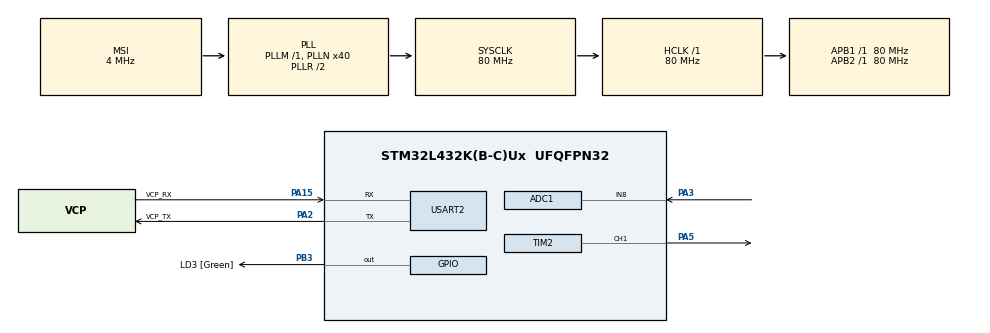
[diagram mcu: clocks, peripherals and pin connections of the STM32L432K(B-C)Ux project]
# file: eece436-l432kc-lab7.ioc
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ADC1.Channel-0\#ChannelRegularConversion=ADC_CHANNEL_8
ADC1.NbrOfConversionFlag=1
ADC1.OffsetNumber-0\#ChannelRegularConversion=ADC_OFFSET_NONE
ADC1.Rank-0\#ChannelRegularConversion=1
ADC1.SamplingTime-0\#ChannelRegularConversion=ADC_SAMPLETIME_2CYCLES_5
ADC1.master=1
Mcu.Family=STM32L4
Mcu.Name=STM32L432K(B-C)Ux
Mcu.Package=UFQFPN32
NVIC.PriorityGroup=NVIC_PRIORITYGROUP_4
PA0.GPIO_Label=MCO [High speed clock in]
PA0.Mode=HSE-External-Clock-Source-for-LittleOrca
PA0.Signal=RCC_CK_IN
PA13\ (JTMS-SWDIO).GPIO_Label=SWDIO
PA13\ (JTMS-SWDIO).Mode=Serial_Wire
PA13\ (JTMS-SWDIO).Signal=SYS_JTMS-SWDIO
PA14\ (JTCK-SWCLK).GPIO_Label=SWCLK
PA14\ (JTCK-SWCLK).Mode=Serial_Wire
PA14\ (JTCK-SWCLK).Signal=SYS_JTCK-SWCLK
PA15\ (JTDI).GPIO_Label=VCP_RX
PA15\ (JTDI).Mode=Asynchronous
PA15\ (JTDI).Signal=USART2_RX
PA2.GPIO_Label=VCP_TX
PA2.Mode=Asynchronous
PA2.Signal=USART2_TX
PA3.Signal=ADCx_IN8
PA5.GPIO_ModeDefaultPP=GPIO_MODE_AF_OD
PA5.Signal=S_TIM2_CH1
PB3\ (JTDO-TRACESWO).GPIO_Label=LD3 [Green]
PB3\ (JTDO-TRACESWO).Signal=GPIO_Output
PC14-OSC32_IN\ (PC14).Mode=LSE-External-Oscillator
PC14-OSC32_IN\ (PC14).Signal=RCC_OSC32_IN
PC15-OSC32_OUT\ (PC15).Mode=LSE-External-Oscillator
PC15-OSC32_OUT\ (PC15).Signal=RCC_OSC32_OUT
ProjectManager.HeapSize=0x200
ProjectManager.StackSize=0x400
ProjectManager.TargetToolchain=STM32CubeIDE
RCC.ADCCLockSelection=RCC_ADCCLKSOURCE_SYSCLK
RCC.ADCFreq_Value=80000000
RCC.AHBFreq_Value=80000000
RCC.APB1Freq_Value=80000000
RCC.APB1TimFreq_Value=80000000
RCC.APB2Freq_Value=80000000
RCC.APB2TimFreq_Value=80000000
RCC.CortexFreq_Value=80000000
RCC.HCLKFreq_Value=80000000
RCC.HSE_VALUE=8000000
RCC.HSI16_VALUE=16000000
RCC.HSI48_VALUE=48000000
RCC.HSI_VALUE=16000000
RCC.MSI_VALUE=4000000
RCC.PLLMUL=RCC_PLLMUL_4
RCC.PLLN=40
RCC.PLLSAI1N=16
RCC.SYSCLKFreq_VALUE=80000000
RCC.SYSCLKSource=RCC_SYSCLKSOURCE_PLLCLK
RCC.USBFreq_Value=32000000
RCC.VCOOutputFreq_Value=160000000
SH.ADCx_IN8.0=ADC1_IN8,IN8-Single-Ended
SH.S_TIM2_CH1.0=TIM2_CH1,PWM Generation1 CH1
TIM2.Channel-PWM\ Generation1\ CH1=TIM_CHANNEL_1
TIM2.Period=20000 - 1
TIM2.Prescaler=32000 - 1
TIM2.Pulse-PWM\ Generation1\ CH1=3999
USART2.VirtualMode-Asynchronous=VM_ASYNC
VP_TIM2_VS_ClockSourceINT.Mode=Internal
board=NUCLEO-L432KC

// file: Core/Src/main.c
/* USER CODE BEGIN Header */

// Connor Rawls
// 2/24/25
// Spring - 2025
// EECE436
// Lab 7

/**
  ******************************************************************************
  * @file           : main.c
  * @brief          : Main program body
  ******************************************************************************
  * @attention
  *
  * Copyright (c) 2025 STMicroelectronics.
  * All rights reserved.
  *
  * This software is licensed under terms that can be found in the LICENSE file
  * in the root directory of this software component.
  * If no LICENSE file comes with this software, it is provided AS-IS.
  *
  ******************************************************************************
  */
/* USER CODE END Header */
#include "main.h"

/* USER CODE BEGIN Includes */

#include "Utilities/comms.h"
#include "Utilities/temperature.h"
#include "stdio.h"
#include "stdbool.h"
#include "string.h"

/* USER CODE END Includes */

/* USER CODE BEGIN PD */

#define MANUAL_TEMPERATURE_CALIBRATION 0
#define READ_USER_INPUT 0
#define TEMPERATURE_SENTINEL_VAL -1
#define TEMPERATURE_STEADY_COUNT_LIMIT 20
#define TEMPERATURE_STEADY_COUNT_THRESH 10
#define CALIBRATION_POINTS 2
#define MAX_INPUT_VOLTAGE 3.3 // Max input voltage for ADC readings

/* USER CODE END PD */

ADC_HandleTypeDef hadc1;

TIM_HandleTypeDef htim2;

UART_HandleTypeDef huart2;

/* USER CODE BEGIN PV */

float duty_cycles_for_calibration[CALIBRATION_POINTS] = { 0.2, 0.9 };
TemperatureCalibrator temperature_calibrator;
CalibrationPoint calibration_points[CALIBRATION_POINTS];
TemperatureCurve temperature_curve;

/* USER CODE END PV */

void SystemClock_Config(void);
static void MX_GPIO_Init(void);
static void MX_USART2_UART_Init(void);
static void MX_TIM2_Init(void);
static void MX_ADC1_Init(void);
/* USER CODE BEGIN PFP */

static void TemperatureCurve_Init(void);

/* USER CODE END PFP */

int main(void)
{

  /* MCU Configuration--------------------------------------------------------*/

  /* Reset of all peripherals, Initializes the Flash interface and the Systick. */
  HAL_Init();

  /* Configure the system clock */
  SystemClock_Config();

  /* Initialize all configured peripherals */
  MX_GPIO_Init();
  MX_USART2_UART_Init();
  MX_TIM2_Init();
  MX_ADC1_Init();
  /* USER CODE BEGIN 2 */

  HAL_TIM_PWM_Start(&htim2, TIM_CHANNEL_1);

  /* USER CODE END 2 */

  /* Infinite loop */
  /* USER CODE BEGIN WHILE */

  uint32_t start_time = HAL_GetTick();

  // Calibrate temperature controller
  OutputToTerminal(&huart2, "Calibrating temperature controller...\r\n");
  TemperatureCurve_Init();
  OutputToTerminal(&huart2, "Temperature controller calibrated.\r\n");

  uint8_t str_buff[64] = { '\0' };
  sprintf((char*)str_buff, "Temperature curve: y = %3.2fx + %3.2f\r\n", temperature_curve.temperature_slope, temperature_curve.temperature_offset);
  OutputToTerminal(&huart2, (char*)str_buff);
  memset(str_buff, '\0', sizeof(str_buff));

  OutputToTerminal(&huart2, "Beginning main loop...\r\n");

  while (1)
  {
	  // Get the current temperature reading
	  float current_temperature = GetTemperature(&hadc1, MAX_INPUT_VOLTAGE);

	  sprintf((char*)str_buff, "Current temperature: %3.2f F (%3.2f C)\r\n", current_temperature, ConvertFToC(current_temperature));
	  OutputToTerminal(&huart2, (char*)str_buff);
	  memset(str_buff, '\0', sizeof(str_buff));

	  if (READ_USER_INPUT) {
		  // Check for user input for desired temperature
		  int desired_temperature = ReadValueFromTerminal(&huart2);

		  // If valid user input is found, set the new temperature
		  if (desired_temperature != TEMPERATURE_SENTINEL_VAL) {
			  sprintf((char*)str_buff, "Setting temperature: %d F\r\n", desired_temperature);
			  OutputToTerminal(&huart2, (char*)str_buff);
			  SetTemperature(temperature_curve, desired_temperature, &htim2);
			  memset(str_buff, '\0', sizeof(str_buff));
		  }
	  }

	  HAL_Delay(100);

    /* USER CODE END WHILE */

  }
}

void SystemClock_Config(void)
{
  RCC_OscInitTypeDef RCC_OscInitStruct = {0};
  RCC_ClkInitTypeDef RCC_ClkInitStruct = {0};

  /** Configure the main internal regulator output voltage
  */
  if (HAL_PWREx_ControlVoltageScaling(PWR_REGULATOR_VOLTAGE_SCALE1) != HAL_OK)
  {
    Error_Handler();
  }

  /** Configure LSE Drive Capability
  */
  HAL_PWR_EnableBkUpAccess();
  __HAL_RCC_LSEDRIVE_CONFIG(RCC_LSEDRIVE_LOW);

  /** Initializes the RCC Oscillators according to the specified parameters
  * in the RCC_OscInitTypeDef structure.
  */
  RCC_OscInitStruct.OscillatorType = RCC_OSCILLATORTYPE_LSE|RCC_OSCILLATORTYPE_MSI;
  RCC_OscInitStruct.LSEState = RCC_LSE_ON;
  RCC_OscInitStruct.MSIState = RCC_MSI_ON;
  RCC_OscInitStruct.MSICalibrationValue = 0;
  RCC_OscInitStruct.MSIClockRange = RCC_MSIRANGE_6;
  RCC_OscInitStruct.PLL.PLLState = RCC_PLL_ON;
  RCC_OscInitStruct.PLL.PLLSource = RCC_PLLSOURCE_MSI;
  RCC_OscInitStruct.PLL.PLLM = 1;
  RCC_OscInitStruct.PLL.PLLN = 40;
  RCC_OscInitStruct.PLL.PLLP = RCC_PLLP_DIV7;
  RCC_OscInitStruct.PLL.PLLQ = RCC_PLLQ_DIV2;
  RCC_OscInitStruct.PLL.PLLR = RCC_PLLR_DIV2;
  if (HAL_RCC_OscConfig(&RCC_OscInitStruct) != HAL_OK)
  {
    Error_Handler();
  }

  /** Initializes the CPU, AHB and APB buses clocks
  */
  RCC_ClkInitStruct.ClockType = RCC_CLOCKTYPE_HCLK|RCC_CLOCKTYPE_SYSCLK
                              |RCC_CLOCKTYPE_PCLK1|RCC_CLOCKTYPE_PCLK2;
  RCC_ClkInitStruct.SYSCLKSource = RCC_SYSCLKSOURCE_PLLCLK;
  RCC_ClkInitStruct.AHBCLKDivider = RCC_SYSCLK_DIV1;
  RCC_ClkInitStruct.APB1CLKDivider = RCC_HCLK_DIV1;
  RCC_ClkInitStruct.APB2CLKDivider = RCC_HCLK_DIV1;

  if (HAL_RCC_ClockConfig(&RCC_ClkInitStruct, FLASH_LATENCY_4) != HAL_OK)
  {
    Error_Handler();
  }

  /** Enable MSI Auto calibration
  */
  HAL_RCCEx_EnableMSIPLLMode();
}

static void MX_ADC1_Init(void)
{

  ADC_ChannelConfTypeDef sConfig = {0};

  /** Common config
  */
  hadc1.Instance = ADC1;
  hadc1.Init.ClockPrescaler = ADC_CLOCK_ASYNC_DIV1;
  hadc1.Init.Resolution = ADC_RESOLUTION_12B;
  hadc1.Init.DataAlign = ADC_DATAALIGN_RIGHT;
  hadc1.Init.ScanConvMode = ADC_SCAN_DISABLE;
  hadc1.Init.EOCSelection = ADC_EOC_SINGLE_CONV;
  hadc1.Init.LowPowerAutoWait = DISABLE;
  hadc1.Init.ContinuousConvMode = DISABLE;
  hadc1.Init.NbrOfConversion = 1;
  hadc1.Init.DiscontinuousConvMode = DISABLE;
  hadc1.Init.ExternalTrigConv = ADC_SOFTWARE_START;
  hadc1.Init.ExternalTrigConvEdge = ADC_EXTERNALTRIGCONVEDGE_NONE;
  hadc1.Init.DMAContinuousRequests = DISABLE;
  hadc1.Init.Overrun = ADC_OVR_DATA_PRESERVED;
  hadc1.Init.OversamplingMode = DISABLE;
  if (HAL_ADC_Init(&hadc1) != HAL_OK)
  {
    Error_Handler();
  }

  /** Configure Regular Channel
  */
  sConfig.Channel = ADC_CHANNEL_8;
  sConfig.Rank = ADC_REGULAR_RANK_1;
  sConfig.SamplingTime = ADC_SAMPLETIME_2CYCLES_5;
  sConfig.SingleDiff = ADC_SINGLE_ENDED;
  sConfig.OffsetNumber = ADC_OFFSET_NONE;
  sConfig.Offset = 0;
  if (HAL_ADC_ConfigChannel(&hadc1, &sConfig) != HAL_OK)
  {
    Error_Handler();
  }

}

static void MX_TIM2_Init(void)
{

  TIM_ClockConfigTypeDef sClockSourceConfig = {0};
  TIM_MasterConfigTypeDef sMasterConfig = {0};
  TIM_OC_InitTypeDef sConfigOC = {0};

  htim2.Instance = TIM2;
  htim2.Init.Prescaler = 32000 - 1;
  htim2.Init.CounterMode = TIM_COUNTERMODE_UP;
  htim2.Init.Period = 20000 - 1;
  htim2.Init.ClockDivision = TIM_CLOCKDIVISION_DIV1;
  htim2.Init.AutoReloadPreload = TIM_AUTORELOAD_PRELOAD_DISABLE;
  if (HAL_TIM_Base_Init(&htim2) != HAL_OK)
  {
    Error_Handler();
  }
  sClockSourceConfig.ClockSource = TIM_CLOCKSOURCE_INTERNAL;
  if (HAL_TIM_ConfigClockSource(&htim2, &sClockSourceConfig) != HAL_OK)
  {
    Error_Handler();
  }
  if (HAL_TIM_PWM_Init(&htim2) != HAL_OK)
  {
    Error_Handler();
  }
  sMasterConfig.MasterOutputTrigger = TIM_TRGO_RESET;
  sMasterConfig.MasterSlaveMode = TIM_MASTERSLAVEMODE_DISABLE;
  if (HAL_TIMEx_MasterConfigSynchronization(&htim2, &sMasterConfig) != HAL_OK)
  {
    Error_Handler();
  }
  sConfigOC.OCMode = TIM_OCMODE_PWM1;
  sConfigOC.Pulse = 3999;
  sConfigOC.OCPolarity = TIM_OCPOLARITY_HIGH;
  sConfigOC.OCFastMode = TIM_OCFAST_DISABLE;
  if (HAL_TIM_PWM_ConfigChannel(&htim2, &sConfigOC, TIM_CHANNEL_1) != HAL_OK)
  {
    Error_Handler();
  }
  HAL_TIM_MspPostInit(&htim2);

}

static void MX_USART2_UART_Init(void)
{

  huart2.Instance = USART2;
  huart2.Init.BaudRate = 115200;
  huart2.Init.WordLength = UART_WORDLENGTH_8B;
  huart2.Init.StopBits = UART_STOPBITS_1;
  huart2.Init.Parity = UART_PARITY_NONE;
  huart2.Init.Mode = UART_MODE_TX_RX;
  huart2.Init.HwFlowCtl = UART_HWCONTROL_NONE;
  huart2.Init.OverSampling = UART_OVERSAMPLING_16;
  huart2.Init.OneBitSampling = UART_ONE_BIT_SAMPLE_DISABLE;
  huart2.AdvancedInit.AdvFeatureInit = UART_ADVFEATURE_NO_INIT;
  if (HAL_UART_Init(&huart2) != HAL_OK)
  {
    Error_Handler();
  }

}

static void MX_GPIO_Init(void)
{
  GPIO_InitTypeDef GPIO_InitStruct = {0};

  /* GPIO Ports Clock Enable */
  __HAL_RCC_GPIOC_CLK_ENABLE();
  __HAL_RCC_GPIOA_CLK_ENABLE();
  __HAL_RCC_GPIOB_CLK_ENABLE();

  /*Configure GPIO pin Output Level */
  HAL_GPIO_WritePin(LD3_GPIO_Port, LD3_Pin, GPIO_PIN_RESET);

  /*Configure GPIO pin : LD3_Pin */
  GPIO_InitStruct.Pin = LD3_Pin;
  GPIO_InitStruct.Mode = GPIO_MODE_OUTPUT_PP;
  GPIO_InitStruct.Pull = GPIO_NOPULL;
  GPIO_InitStruct.Speed = GPIO_SPEED_FREQ_LOW;
  HAL_GPIO_Init(LD3_GPIO_Port, &GPIO_InitStruct);

}

/* USER CODE BEGIN 4 */

static void TemperatureCurve_Init(void)
{
	temperature_calibrator.temperature_steady_count_limit = TEMPERATURE_STEADY_COUNT_LIMIT;
	temperature_calibrator.temperature_steady_count_thresh = TEMPERATURE_STEADY_COUNT_THRESH;
	temperature_calibrator.calibration_index = 0;
	temperature_calibrator.number_of_calibration_points = CALIBRATION_POINTS;
	temperature_calibrator.temperature_steady_count = 0;
	temperature_calibrator.logged_temperature = 0;
	temperature_calibrator.calibration_points = calibration_points;

	for (int i = 0; i < CALIBRATION_POINTS; i++) {
		calibration_points[i].duty_cycle = duty_cycles_for_calibration[i];
		calibration_points[i].temperature = 0;
	}

	if (!TemperatureCalibrationRoutine(MANUAL_TEMPERATURE_CALIBRATION, &huart2, &temperature_curve, &temperature_calibrator, MAX_INPUT_VOLTAGE, &hadc1, &htim2)) {
		Error_Handler();
	}
}

/* USER CODE END 4 */

void Error_Handler(void)
{
  __disable_irq();
  while (1)
  {
  }
}
